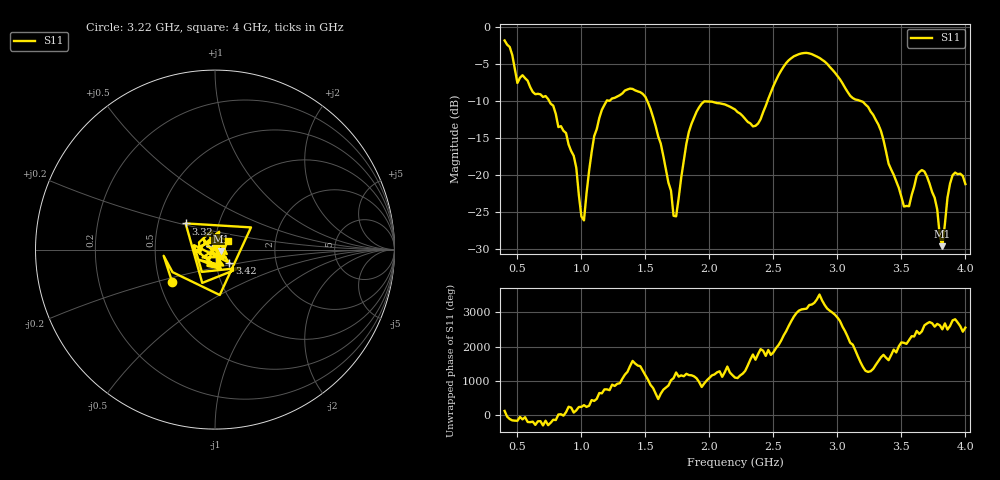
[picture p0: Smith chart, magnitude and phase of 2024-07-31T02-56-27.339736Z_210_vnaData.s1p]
!Created with skrf (http://scikit-rf.org).
# Hz S RI R 50.0
!freq ReS11 ImS11
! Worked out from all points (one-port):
!   181 points, 400 MHz to 4 GHz, reference 50 ohm
!   lowest |S11| = -29.6 dB at 3.82 GHz (marker M1), VSWR 1.07, Z = 53.3 - j0.89 ohm
!   |S11| at or under -10 dB: 748.2 MHz to 1.197 GHz (449.1 MHz wide, 46.2 % of centre); 1.514 GHz to 2.454 GHz (939.7 MHz wide, 47.4 % of centre); 3.181 GHz to end of sweep
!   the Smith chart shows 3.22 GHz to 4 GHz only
!   S11 on the Smith chart (normalised r, x): 3.22 GHz: 0.58, -0.23; 3.32 GHz: 0.69, +0.21; 3.42 GHz: 1.16, -0.17; 4 GHz: 1.15, +0.12
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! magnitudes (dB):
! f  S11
! 400 MHz  -1.8
! 500 MHz  -7.6
! 860 MHz  -14.0
! 940 MHz  -17.4
! 1.02 GHz  -26.1
! 1.08 GHz  -16.9
! 1.14 GHz  -12.3
! 1.3 GHz  -9.2
! 1.5 GHz  -9.4
! 1.62 GHz  -15.8
! 1.72 GHz  -25.5
! 1.76 GHz  -23.1
! 1.84 GHz  -14.2
! 1.92 GHz  -10.8
! 2.2 GHz  -11.1
! 2.38 GHz  -13.1
! 2.66 GHz  -4.0
! 2.88 GHz  -4.4
! 3.1 GHz  -9.3
! 3.22 GHz  -10.5
! 3.32 GHz  -13.2
! 3.42 GHz  -19.2
! 3.56 GHz  -24.2
! 3.68 GHz  -19.5
! 3.76 GHz  -23.1
! 3.82 GHz  -29.6
! 3.9 GHz  -20.0
! 4 GHz  -21.2
